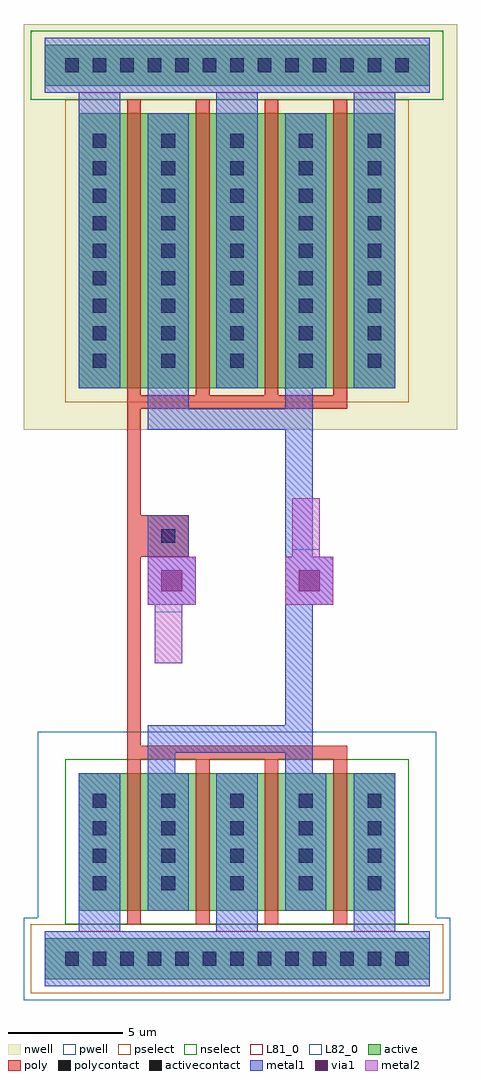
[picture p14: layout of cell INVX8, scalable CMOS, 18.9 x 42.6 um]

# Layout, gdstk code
import gdstk
lib = gdstk.Library(unit=1e-6, precision=1e-09)
def R(c, l, rs):  # rectangles x0, y0, x1, y1
    for r in rs: c.add(gdstk.rectangle(r[:2], r[2:], *l))
def A(c, l, x, y, w, h, nx, ny, dx, dy):  # array of equal rectangles
    R(c, l, [(x+i*dx, y+j*dy, x+i*dx+w, y+j*dy+h) for i in range(nx) for j in range(ny)])
pwell = (41, 0)
nwell = (42, 0)
active = (43, 0)
pselect = (44, 0)
nselect = (45, 0)
poly = (46, 0)
polycontact = (47, 0)
activecontact = (48, 0)
metal1 = (49, 0)
via1 = (50, 0)
metal2 = (51, 0)
L81_0 = (81, 0)
L82_0 = (82, 0)

invx8 = lib.new_cell('INVX8')
R(invx8, pwell, [(-1.8,-1.8,16.8,1.8), (-1.2,1.8,16.2,9.9)])
R(invx8, nwell, [(-1.8,23.1,17.1,40.8)])
R(invx8, active, [(-0.9,-0.9,15.9,0.9), (0.6,2.1,14.4,8.1), (0.6,24.9,14.4,36.9), (-0.9,38.1,15.9,39.9)])
R(invx8, pselect, [(-1.5,-1.5,16.5,1.5), (0,24.3,15,37.5)])
R(invx8, nselect, [(0,1.5,15,8.7), (-1.5,37.5,16.5,40.5)])
A(invx8, poly, 2.7, 1.5, 0.6, 7.2, 4, 1, 3, 0)
A(invx8, poly, 2.7, 24.6, 0.6, 12.9, 4, 1, 3, 0)
R(invx8, poly, [(2.7,8.7,12.3,9.3), (2.7,9.3,3.3,17.55), (2.7,17.55,5.4,19.35), (2.7,19.35,3.3,24), (2.7,24,12.3,24.6)])
R(invx8, polycontact, [(4.2,18.15,4.8,18.75)])
A(invx8, activecontact, 0, -0.3, 0.6, 0.6, 13, 2, 1.2, 39)
A(invx8, activecontact, 1.2, 3, 0.6, 0.6, 5, 4, 3, 1.2)
A(invx8, activecontact, 1.2, 25.8, 0.6, 0.6, 5, 9, 3, 1.2)
A(invx8, metal1, 0.6, 1.2, 1.8, 6.9, 3, 1, 6, 0)
A(invx8, metal1, 0.6, 24.9, 1.8, 12.9, 3, 1, 6, 0)
R(invx8, metal1, [(-0.9,-1.2,15.9,1.2), (3.6,2.1,5.4,8.1), (9.6,2.1,11.4,8.1), (3.6,8.1,4.8,9), (9.6,8.1,10.8,9), (3.6,9,10.8,10.2), (9.6,10.2,10.8,15.45), (3.6,15.45,5.7,17.55), (9.6,15.45,11.7,17.55), (3.6,17.55,5.4,19.35), (9.6,17.55,10.8,23.1), (3.6,23.1,10.8,24), (3.6,24,5.4,36.9), (9.6,24,10.8,24.9), (9.6,24.9,11.4,36.9), (-0.9,37.8,15.9,40.2)])
R(invx8, via1, [(4.2,16.05,5.1,16.95), (10.2,16.05,11.1,16.95)])
R(invx8, metal2, [(3.9,12.9,5.1,15.45), (3.6,15.45,5.7,17.55), (9.6,15.45,11.7,17.55), (9.9,17.55,11.1,20.1)])
R(invx8, L81_0, [(-0.9,-1.2,15.9,1.2), (-0.9,37.8,15.9,40.2)])
R(invx8, L82_0, [(3.9,12.9,5.1,15.15), (9.9,17.85,11.1,20.1)])

lib.write_gds('INVX8.gds')
